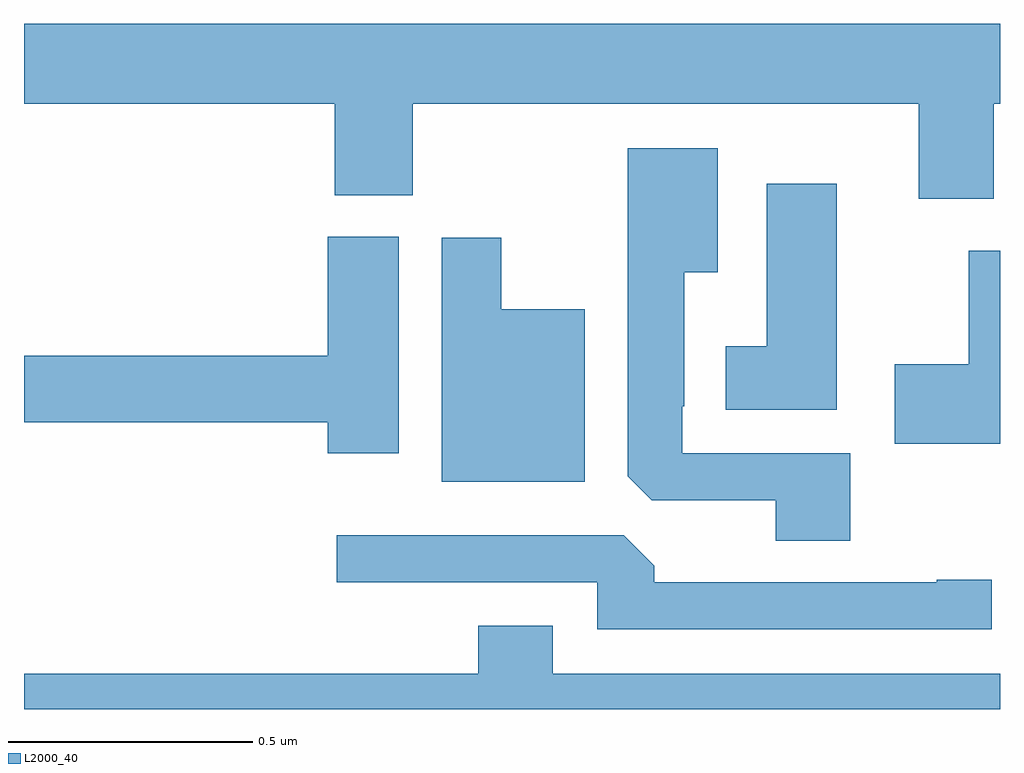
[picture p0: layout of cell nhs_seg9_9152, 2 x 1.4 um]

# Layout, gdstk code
import gdstk
lib = gdstk.Library(unit=1e-6, precision=1e-09)
def P(c, l, *ps):  # polygons
    for p in ps: c.add(gdstk.Polygon(p, *l))
L2000_40 = (2000, 40)

nhs_seg9_9152 = lib.new_cell('nhs_seg9_9152')
P(nhs_seg9_9152, L2000_40, [(227.987,1209.74),(228,1209.74),(228,1209.904),(226,1209.904),(226,1209.74),(226.637,1209.74),(226.637,1209.553),(226.797,1209.553),(226.797,1209.74),(227.834,1209.74),(227.834,1209.546),(227.987,1209.546)],
  [(227.693,1209.024),(227.349,1209.024),(227.349,1209.121),(227.353,1209.121),(227.353,1209.395),(227.422,1209.395),(227.422,1209.649),(227.237,1209.649),(227.237,1208.977),(227.286,1208.928),(227.54,1208.928),(227.54,1208.845),(227.693,1208.845)],
  [(227.665,1209.577),(227.522,1209.577),(227.522,1209.244),(227.438,1209.244),(227.438,1209.113),(227.665,1209.113)],
  [(226.768,1209.468),(226.622,1209.468),(226.622,1209.224),(226,1209.224),(226,1209.088),(226.622,1209.088),(226.622,1209.024),(226.768,1209.024)],
  [(227.149,1209.319),(226.978,1209.319),(226.978,1209.466),(226.856,1209.466),(226.856,1208.966),(227.149,1208.966)],
  [(228,1209.439),(227.936,1209.439),(227.936,1209.207),(227.784,1209.207),(227.784,1209.044),(228,1209.044)],
  [(227.983,1208.765),(227.87,1208.765),(227.87,1208.76),(227.291,1208.76),(227.291,1208.794),(227.229,1208.856),(226.641,1208.856),(226.641,1208.76),(227.175,1208.76),(227.175,1208.664),(227.983,1208.664)],
  [(228,1208.572),(227.083,1208.572),(227.083,1208.671),(226.931,1208.671),(226.931,1208.572),(226,1208.572),(226,1208.5),(228,1208.5)])

lib.write_gds('nhs_seg9_9152.gds')
